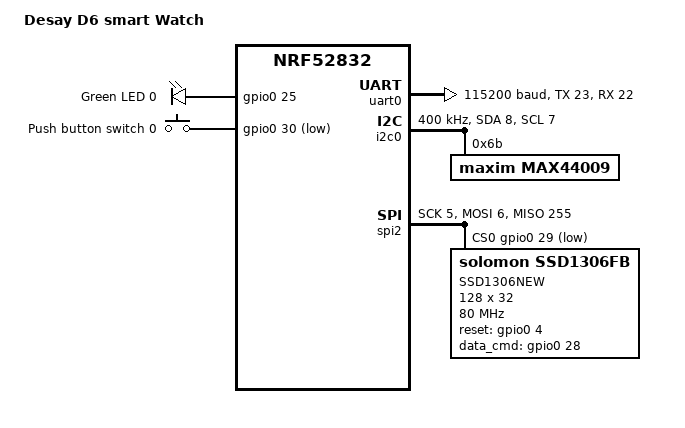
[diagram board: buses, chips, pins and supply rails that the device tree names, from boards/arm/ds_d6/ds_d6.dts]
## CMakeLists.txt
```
# SPDX-License-Identifier: Apache-2.0
#list(APPEND ZEPHYR_EXTRA_MODULES /root/zephyrproject/app/drivers/kscan2)
cmake_minimum_required(VERSION 3.13.1)
list(APPEND ZEPHYR_EXTRA_MODULES
  ${CMAKE_CURRENT_SOURCE_DIR}/drivers
  )


# Add the board
list(APPEND BOARD_ROOT ${CMAKE_CURRENT_LIST_DIR})
#list(APPEND DTS_ROOT ${CMAKE_CURRENT_LIST_DIR}/..)
#add_subdirectory(drivers/kscan2)
# Enable configurations through environment variables
#set(CONF_FILE ${CMAKE_CURRENT_LIST_DIR}/config/prj.conf ${CMAKE_CURRENT_LIST_DIR}/config/bootloader.conf)
#IF("$ENV{BOOTLOADER}" STREQUAL "off")
#  set(CONF_FILE ${CMAKE_CURRENT_LIST_DIR}/config/prj.conf)
#ENDIF()
#IF("$ENV{LOGGING}" STREQUAL "on")
#  set(CONF_FILE ${CONF_FILE} ${CMAKE_CURRENT_LIST_DIR}/config/logging_rtt.conf)
#ENDIF()

find_package(Zephyr REQUIRED HINTS $ENV{ZEPHYR_BASE})
include_directories(include)
project(oswatch)

FILE(GLOB app_sources src/*.c)
target_sources(app PRIVATE ${app_sources})

# Get current time
string(TIMESTAMP CURRENT_TIME %Y-%m-%dT%H:%M:%S)

# Get short commit hash
execute_process(
  COMMAND ${GIT_EXECUTABLE} describe --tags
  WORKING_DIRECTORY ${CMAKE_CURRENT_LIST_DIR}
  OUTPUT_VARIABLE FW_BUILD_GIT
  OUTPUT_STRIP_TRAILING_WHITESPACE
)
set(CMAKE_C_FLAGS "${CMAKE_C_FLAGS} -DCURRENT_TIME_OF_BUILD=\"${CURRENT_TIME}\" -DFW_BUILD=\"${FW_BUILD_GIT}\"")
set(ZEPHYR_BOARD_FLASH_RUNNER jlink)
```

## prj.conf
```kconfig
CONFIG_HEAP_MEM_POOL_SIZE=16384
CONFIG_MAIN_STACK_SIZE=2048

CONFIG_DISPLAY=y
CONFIG_DISPLAY_LOG_LEVEL_ERR=y
#CONFIG_KSCAN=y
CONFIG_LOG=y
CONFIG_LVGL=y
#CONFIG_LVGL_USE_LABEL=y
#CONFIG_LVGL_USE_CONT=y
#CONFIG_LVGL_USE_BTN=y
#CONFIG_LVGL_USE_SLIDER=y
#CONFIG_LVGL_USE_IMG=y
#CONFIG_LVGL_USE_THEME_MATERIAL=n
#CONFIG_ST7789V=y
#CONFIG_LVGL_TXT_ENC_UTF8=y
#CONFIG_LVGL_FONT_MONTSERRAT_14=y
#CONFIG_LVGL_FONT_UNSCII_8=n
#CONFIG_LVGL_VDB_SIZE=64 
#CONFIG_LVGL_VDB_SIZE=2 
#CONFIG_USE_SEGGER_RTT=y
#CONFIG_LVGL_USE_THEME_MONO=y
#CONFIG_LVGL_THEME_DEFAULT_COLOR_PRIMARY_WHITE=y
#CONFIG_LVGL_THEME_DEFAULT_COLOR_SECONDARY_BLACK=y
# Time functions
CONFIG_NEWLIB_LIBC=y
#CONFIG_LVGL_POINTER_KSCAN=y
```

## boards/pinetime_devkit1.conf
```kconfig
CONFIG_ST7789V=y
CONFIG_LVGL_FONT_MONTSERRAT_28=y
CONFIG_LVGL_FONT_MONTSERRAT_14=n
CONFIG_LVGL_DISPLAY_DEV_NAME="ST7789V"

CONFIG_LVGL_USE_LABEL=y
CONFIG_LVGL_USE_CONT=y
CONFIG_LVGL_USE_BTN=y
#CONFIG_LVGL_USE_SLIDER=y
#CONFIG_LVGL_USE_IMG=y
CONFIG_LVGL_USE_THEME_MATERIAL=n
#CONFIG_ST7789V=y
CONFIG_LVGL_TXT_ENC_UTF8=y
#CONFIG_LVGL_FONT_MONTSERRAT_14=y
CONFIG_LVGL_FONT_UNSCII_8=n
#CONFIG_LVGL_VDB_SIZE=64
CONFIG_LVGL_VDB_SIZE=6
CONFIG_USE_SEGGER_RTT=y
CONFIG_LVGL_USE_THEME_MONO=y
CONFIG_LVGL_THEME_DEFAULT_COLOR_PRIMARY_WHITE=y
CONFIG_LVGL_THEME_DEFAULT_COLOR_SECONDARY_BLACK=y
# Time functions
#CONFIG_NEWLIB_LIBC=y
#CONFIG_LVGL_POINTER_KSCAN=y
```

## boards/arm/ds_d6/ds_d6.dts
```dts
/*
* Copyright (c) 2019 Nordic Semiconductor ASA
*
* SPDX-License-Identifier: LicenseRef-BSD-5-Clause-Nordic
*/

/dts-v1/;
#include <nordic/nrf52832_qfaa.dtsi>

/ {
model = "Desay D6 smart Watch";
compatible = "ds-d6";

chosen {
	zephyr,console = &uart0;
	zephyr,shell-uart = &uart0;
	zephyr,uart-mcumgr = &uart0;
	zephyr,bt-mon-uart = &uart0;
	zephyr,bt-c2h-uart = &uart0;

	zephyr,sram = &sram0;
	zephyr,flash = &flash0;
	zephyr,code-partition = &slot0_partition;
};
leds    {
	compatible = "gpio-leds";
                led0_green: led_0 {
/*pin 25 is the motor*/
                       gpios = <&gpio0 25 GPIO_ACTIVE_HIGH>; //this is heart rate sensor led
                       label = "Green LED 0";
	//	       default-state = "on";
                };

        };


	buttons {
		compatible = "gpio-keys";
		button0: button_0 {
			gpios = <&gpio0 30 (GPIO_PULL_UP | GPIO_ACTIVE_LOW)>;
			label = "Push button switch 0";
		};
	};

       //heart rate sensor needs power, used this to pretend starting up a power rail 
/*        vdd_pwr: vdd-pwr-ctrl {
		compatible = "regulator-fixed";
                label = "vdd-pwr-ctrl";
                regulator-name = "vdd-pwr-ctrl";
                enable-gpios = <&gpio0 26 GPIO_ACTIVE_HIGH>;
                regulator-boot-on;
        };

*/
	aliases {
		sw0 = &button0;
		led0 = &led0_green;
/*		led2 = &led2_blue;
		led0-green = &led0_green;
		led1-red   = &led1_red;
		led2-blue  = &led2_blue;*/
	};

};

&gpiote {
	status = "okay";
};

&gpio0 {
	status = "okay";
};
&uart0 {
	status = "okay";
	compatible = "nordic,nrf-uart";
	current-speed = <115200>;
	tx-pin = <23>;
	rx-pin = <22>;
};

&i2c0 {
	compatible = "nordic,nrf-twi";
	status = "okay";
	sda-pin = <8>;
	scl-pin = <7>;
	clock-frequency = <I2C_BITRATE_FAST>;
//	clock-frequency = <400000>;
	max44009@6b {
		//power-gpios = <&gpio0 26 1>;
		compatible = "maxim,max44009";
		reg=<0x6b>;
		label="MAX44009";
        //        vin-supply = <&vdd_pwr>; //heart rate controller needs power first
	};
};

/*
&i2c1 {
	compatible = "nordic,nrf-twi";
	status = "okay";
	sda-pin = <14>;
	scl-pin = <13>;
	clock-frequency = <100000>;
	BME280@1f {
		compatible = "bosch,bme280";
		reg=<0x1f>;
		label="BME280";
	};
};


*/

&flash0 {
	/*
	 * For more information, see:
	 * http://docs.zephyrproject.org/latest/guides/dts/index.html#flash-partitions
	 */
	partitions {
		compatible = "fixed-partitions";
		#address-cells = <1>;
		#size-cells = <1>;

		boot_partition: partition@0 {
			label = "mcuboot";
			reg = <0x00000000 0x0000C000>;
		};
		slot0_partition: partition@c000 {
			label = "image-0";
			reg = <0x0000C000 0x00032000>;
		};
		slot1_partition: partition@3e000 {
			label = "image-1";
			reg = <0x0003e000 0x00032000>;
		};
		scratch_partition: partition@70000 {
			label = "image-scratch";
			reg = <0x00070000 0x0000a000>;
		};
		storage_partition: partition@7a000 {
			label = "storage";
			reg = <0x0007a000 0x00006000>;
		};
	};
};


&spi2 {
        compatible = "nordic,nrf-spi";
        status = "okay";
        sck-pin = <5>;
        mosi-pin = <6>;
        miso-pin = <0xFF>;
       // cs-gpios = <&gpio0 29 (GPIO_ACTIVE_LOW)>;
        cs-gpios = <&gpio0 29 (GPIO_ACTIVE_LOW)>;
        ssd1306new@0 {
                compatible = "solomon,ssd1306fb";
        	spi-max-frequency = <80000000>; 
                label = "SSD1306NEW";
                reg = <0>;
		segment-offset = <0>;
		page-offset = <0>;
		display-offset = <0>; 
		multiplex-ratio = <31>;
		height = <32>;
		width = <128>;
		segment-remap;
//		com-invdir;
//alternative 0x12		com-sequential;
		prechargep = <0xF1>;
		reset-gpios = <&gpio0 4 0>;
                data_cmd-gpios = <&gpio0 28 0>;
        };
};
```

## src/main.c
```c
/*
 * Copyright (c) 2021 Jan Jansen <najnesnaj@yahoo.com>
 *
 * SPDX-License-Identifier: Apache-2.0
 */

#include <device.h>
#include <drivers/display.h>
#include <drivers/gpio.h>
#include <lvgl.h>
#include <stdio.h>
#include <string.h>
#include <zephyr.h>
#include "clock.h"
#include "log.h"
#include "display.h"
#include "event_handler.h"


void main(void)
{
#if !(defined(CONFIG_BOARD_NATIVE_POSIX_64BIT)) //both the pinetime & ds_d6 have a real button 
	{
		init_button();
	}
#endif
	display_init();
	clock_init();
        clock_show_time();

	while (1) {
//		lv_task_handler();
		k_sleep(K_MSEC(100));
	}
}
```

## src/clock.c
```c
/*
 * Copyright (c) 2021 Jan Jansen (najnesnaj@yahoo.com)
 *
 * SPDX-License-Identifier: Apache-2.0
 */

#include <zephyr.h>
#include <time.h>
#include <stdio.h>
#include <stdlib.h>
#include <zephyr/types.h>
#include "battery.h"
#include "bt.h"
#include "version.h"
#include "cts_sync.h"
#include "log.h"
#include "event_handler.h"
//#include "gfx.h"
#include "display.h"

/* ********** ********** VARIABLES ********** ********** */
static char time_label_str[32];
static char date_label_str[32];
typedef unsigned long long  u64_t;

static u64_t uptime_ms;
static u64_t last_uptime_ms;
static u64_t elapsed_ms;

static struct tm ti = {
	.tm_sec = 0,
	.tm_min = 0,
	.tm_hour = 0,
	.tm_mday = 0,
	.tm_mon = 0,
	.tm_year = 0,
	.tm_wday = 0,
};

/* ********** ********** FUNCTIONS *********** ********** */
void clock_str_to_local_time(const char *str)
{
	if (sscanf(str, "%d-%d-%dT%d:%d:%d", &ti.tm_year, &ti.tm_mon,
		   &ti.tm_mday, &ti.tm_hour, &ti.tm_min, &ti.tm_sec) != 6) {
		LOG_ERR("Failed to parse time of build.");
	}
	ti.tm_year-=1900;
	ti.tm_mon-=1;
	mktime(&ti);
}

void clock_init()
{
	/* Set time to time of build */
	clock_str_to_local_time(TIME_OF_BUILD);
	LOG_DBG("Time set to time of build");
	LOG_DBG("Clock init: Done");
}

void clock_update_elapsed_ms()
{
	uptime_ms = k_uptime_get();
	elapsed_ms = uptime_ms - last_uptime_ms;
	last_uptime_ms = uptime_ms;
	LOG_INF("Clock updated: "); //jj
}

/* Called by cts sync */
void clock_sync_time(cts_datetime_t *cts)
{
	ti.tm_year = cts->year -1900;
	ti.tm_mon = cts->month -1;
	ti.tm_mday = cts->day;
	ti.tm_hour = cts->hours;
	ti.tm_min = cts->minutes;
	ti.tm_sec = cts->seconds;
	mktime(&ti);
	clock_update_elapsed_ms();
}

/* Called by event handler */
void clock_increment_local_time()
{
	clock_update_elapsed_ms();
	ti.tm_sec += elapsed_ms / 1000;
	mktime(&ti);
}

void clock_show_time()
{
	strftime(time_label_str, 32, "%H:%M", &ti);
	strftime(date_label_str, 32, "%a %d %b", &ti);
	//gfx_time_set_label(time_label_str); jj
	display_time_set_label(time_label_str);
	//gfx_date_set_label(date_label_str);
	display_date_set_label(date_label_str);
}
```

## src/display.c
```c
/*
 * Copyright (c) 2021 <najnesnaj@yahoo.com>
 *
 * SPDX-License-Identifier: Apache-2.0
 */

#include <device.h>
#include <drivers/display.h>
#include <drivers/gpio.h>
#include <lvgl.h>
#include <stdio.h>
#include <string.h>
#include <zephyr.h>

#include "display.h"
#include "buttons.h"
#include "clock.h"
#include "event_handler.h"
#include <logging/log.h>
LOG_MODULE_REGISTER(display, 3);

const static struct device * display_dev;

#define SCREEN_ID_0    0
#define SCREEN_ID_1    1
#define SCREEN_ID_2    2
#define SCREEN_ID_3    3
#define SCREEN_COUNT   4


#define PARAM_TOTAL 6 //total number of parameters


char * param_label[] = {
        "temp1",
        "timer1",
        "temp2",
        "timer2",
        "temp3",
        "timer3"
};

int param[6]={10,20,30,40,50,60};





enum battery_symbol {
        BAT_CHARGE,
        BAT_FULL,
        BAT_3,
        BAT_2,
        BAT_1,
        BAT_EMPTY
};

/*

void display_timer_handler(struct k_timer * timer);
void display_task_handler(struct k_work * work);

K_TIMER_DEFINE(display_timer, display_timer_handler, NULL);

K_WORK_DEFINE(display_work, display_task_handler);

#define TICK_PERIOD   (10)

void display_task_handler(struct k_work * work)
{
	lv_tick_inc(TICK_PERIOD);
	lv_task_handler();
}

void display_timer_handler(struct k_timer * timer)
{
	k_work_submit(&display_work);
}

*/

typedef struct {
	lv_obj_t * screen;
	int        count;
} screens_t;

/*---------------------------------------------------------------------------*/

static lv_obj_t   * button_obj;
static lv_obj_t   * screen0_label0_obj;
static lv_obj_t *time_label;
static lv_obj_t *date_label;
static lv_obj_t *title_label;
static lv_obj_t *battery_label;
static lv_obj_t *date_label;




static lv_obj_t   * screen1_label0_obj; 
static lv_obj_t   * screen1_label1_obj; 

//static lv_obj_t   * screen2_label0_obj; 
static lv_obj_t   * screen2_label1_obj; 
static lv_obj_t   * screen2_label2_obj; 

static screens_t screens [] = {
	{ .screen = NULL, .count = 1 },
	{ .screen = NULL, .count = 2 },
	{ .screen = NULL, .count = 3 },
	{ .screen = NULL, .count = 0 },
};
#define SCREENS_COUNT (sizeof(screens)/sizeof(screens[0]))

/*---------------------------------------------------------------------------*/
/*                                                                           */
/*---------------------------------------------------------------------------*/
void display_time_set_label(char *str)
{
	lv_label_set_text(time_label, str);
}
void display_date_set_label(char *str)
{
	lv_label_set_text(date_label, str);
}


//parameters are displayed on screen2
void display_label()
{
        screen2_label1_obj=lv_label_create(lv_scr_act(), NULL);
        lv_obj_align(screen2_label1_obj, lv_scr_act(), LV_ALIGN_IN_TOP_LEFT, 0, 0);
        screen2_label2_obj=lv_label_create(lv_scr_act(), NULL);
        lv_obj_align(screen2_label2_obj, lv_scr_act(), LV_ALIGN_IN_TOP_RIGHT, 0, 0);
}


void show_label(int parnr)
{
        char snum[5];
        sprintf(snum, "%d",param[parnr]);
        lv_label_set_text(screen2_label1_obj, param_label[parnr]);
        lv_label_set_text(screen2_label2_obj, snum);
}







void display_clock_update() // jj the clock apears in the first screen only 
{
             //                                   lv_scr_load(screens[0].screen);



}

/*---------------------------------------------------------------------------*/
/*        todo                                                               */
/*        kscan_touch works for pinetime                                     */
/*        have not found a way to do this out of tree                        */
/*        some minor modification of the focaltech driver is needed          */
/*---------------------------------------------------------------------------*/
/*
#if defined(CONFIG_LVGL_POINTER_KSCAN) 


static void button_event_cb(lv_obj_t * obj, lv_event_t event)
{
	static int screen_id = 0;  // init to first screen id
	static int param_id  = 0;  // init to first parameter index

	switch(event) {
		case LV_EVENT_PRESSED:
			break; 
		case LV_EVENT_SHORT_CLICKED:
			LOG_INF("Short clicked\n");
			break;

		case LV_EVENT_CLICKED:
			clock_increment_local_time();

			LOG_INF("Clicked\n");
			break;

		case LV_EVENT_LONG_PRESSED:
			clock_increment_local_time();
			clock_show_time();
			LOG_INF("Long press\n");
			break;

		case LV_EVENT_LONG_PRESSED_REPEAT:

			//this can be configured in menuconfig 
			//standard value < long_pressed
						screen_id++;
						if (screen_id >= SCREEN_COUNT)
						screen_id = 0;
						lv_scr_load(screens[screen_id].screen);
						param_id = 0;
						LOG_INF("BTN1: screen_id(%d)", screen_id);
			//   handle_button_event();



			LOG_INF("Long press repeat\n");
			break;

		case LV_EVENT_RELEASED:
			LOG_INF("Released\n");
			break;
	}

}
#endif
*/

/*---------------------------------------------------------------------------*/
/*                                                                           */
/*---------------------------------------------------------------------------*/
//todo if no touch screen define real button ds_d6




void display_battery(enum battery_symbol s)
{
        switch (s) {
                case BAT_CHARGE:
                        lv_label_set_text(battery_label, LV_SYMBOL_CHARGE);
                        break;
                case BAT_FULL:
                        lv_label_set_text(battery_label, LV_SYMBOL_BATTERY_FULL);
                        break;
                case BAT_3:
                        lv_label_set_text(battery_label, LV_SYMBOL_BATTERY_3);
                        break;
                case BAT_2:
                        lv_label_set_text(battery_label, LV_SYMBOL_BATTERY_2);
                        break;
                case BAT_1:
                        lv_label_set_text(battery_label, LV_SYMBOL_BATTERY_1);
                        break;
                default:
                        lv_label_set_text(battery_label, LV_SYMBOL_BATTERY_EMPTY);
        }
}






void display_button()
{
	/* the ds_d6 has a real button and no touchscreen, so no need for lvgl-button */
#if defined(CONFIG_LVGL_POINTER_KSCAN)
//#if defined(CONFIG_BOARD_NATIVE_POSIX_64BIT)
	button_obj = lv_btn_create(lv_scr_act(), NULL);
	lv_obj_set_width(button_obj, 5);
	lv_obj_set_height(button_obj, 5);
	//lv_obj_align(button_obj, NULL, LV_ALIGN_CENTER, 128, 0);
	lv_obj_align(button_obj, NULL, LV_ALIGN_IN_RIGHT_MID, 0, 0);
	lv_btn_set_fit(button_obj, LV_FIT_TIGHT);
	screen0_label0_obj = lv_label_create(button_obj, NULL);
	lv_label_set_text(screen0_label0_obj, "O"); //substitute for real switch on physical watch
	lv_obj_set_event_cb(button_obj, button_event_cb);
#endif

}


void display_btn_event(buttons_id_t btn_id)
{
	static int screen_id = 0;  // init to first screen id
	static int param_id  = 0;  // init to first parameter index

	//LOG_INF("%s: BTN%d", __func__, btn_id);

	switch (btn_id) {

		case BTN1_LONG:
			screen_id++;
			if (screen_id >= SCREEN_COUNT)
				screen_id = 0;
			lv_scr_load(screens[screen_id].screen);
			param_id = 0;
			LOG_INF("BTN1: screen_id(%d)", screen_id);
			break;

		case BTN1_SHORT:
			param_id++;
			if (param_id >= PARAM_TOTAL)  param_id = 0;
			show_label(param_id);
	//		if (param_id < 0)                          param_id = 0;
			LOG_INF("BTN2: screen_id(%d) param_id(%d)", screen_id, param_id);
			break;


		default:
			break;
	}
}

/*---------------------------------------------------------------------------*/
/*                                                                           */
/*---------------------------------------------------------------------------*/
void display_screens_init(void)
{
	screens[0].screen = lv_obj_create(NULL, NULL);
	screens[1].screen = lv_obj_create(NULL, NULL);
	screens[2].screen = lv_obj_create(NULL, NULL);
	screens[3].screen = lv_obj_create(NULL, NULL);

	// lv_theme_t * mono = lv_theme_mono_init(0, NULL);
	// lv_theme_set_current(mono);

	/*
	 *  build basic screen0
	 */
	lv_scr_load(screens[0].screen);
	lv_obj_t * screen0_label = lv_label_create(lv_scr_act(), NULL);
	lv_label_set_text(screen0_label, "Pg1");
	lv_obj_align(screen0_label, screens[0].screen, LV_ALIGN_IN_TOP_RIGHT, 0, 0);
	/* the ds_d6 has a real button and no touchscreen, so no need for lvgl-button */
	display_button();

	/* Time label */
	time_label = lv_label_create(lv_scr_act(), NULL);
	lv_obj_align(time_label, NULL, LV_ALIGN_IN_TOP_MID, 0, 0); //jj
	lv_label_set_text(time_label, "00:00");
	/* Date label */
	date_label = lv_label_create(lv_scr_act(), NULL);
	lv_obj_align(date_label, NULL, LV_ALIGN_IN_BOTTOM_MID, 0, 0);
	lv_label_set_text(date_label, "Mon 10 Jan");

	/* title label */
	title_label = lv_label_create(lv_scr_act(), NULL);
	lv_obj_align(title_label, NULL, LV_ALIGN_IN_TOP_LEFT, 0, 0);
	//lv_label_set_text(title_label, LV_SYMBOL_BLUETOOTH"symb");
	//lv_label_set_text(title_label, LV_SYMBOL_BLUETOOTH);
	lv_label_set_text(title_label, LV_SYMBOL_WIFI);

	/* Battery label */
	//display_battery(3);
	battery_label = lv_label_create(lv_scr_act(), NULL);
	display_battery(BAT_3); //todo just demo value -- need real level
	//lv_label_set_text(battery_label, LV_SYMBOL_BATTERY_2);
        lv_obj_align(battery_label, NULL, LV_ALIGN_IN_BOTTOM_LEFT, 0, 0);

	//battery_label = lv_label_create(lv_scr_act(), NULL);
	//lv_obj_align(battery_label, NULL, LV_ALIGN_IN_TOP_MID, 0, 0);
	//lv_label_set_text(battery_label, LV_SYMBOL_BATTERY_EMPTY);


	//	lv_obj_t * mask = lv_img_create(lv_scr_act(), NULL);
	//	lv_img_set_src(mask, &mask);
	//	lv_obj_align(mask, NULL, LV_ALIGN_CENTER, 0, 0);


	//  hello_world_label = lv_label_create(hello_world_button, NULL);
	// printf("pointer enabled\n");
	// lv_label_set_text(hello_world_label, "O"); //substitute for real switch on physical watch
	//screen0_slider_obj = lv_slider_create(lv_scr_act(), NULL);
	//lv_obj_set_height(screen0_slider_obj, 10);
	//lv_obj_set_width(screen0_slider_obj, 110);
	//lv_obj_align(screen0_slider_obj, NULL, LV_ALIGN_CENTER, 0, 0);
	//lv_slider_set_value(screen0_slider_obj, 15, LV_ANIM_ON);
	//screen0_slider_value = 15;

	/*
	 *  build basic screen1
	 */
	lv_scr_load(screens[1].screen);
	lv_obj_t * screen1_page = lv_label_create(lv_scr_act(), NULL);
	lv_label_set_text(screen1_page, "Pg2");
	lv_obj_align(screen1_page, screens[1].screen, LV_ALIGN_IN_TOP_RIGHT, 0, 0);

	// to avoid creating the same button all over again jj
	display_button();

	screen1_label0_obj = lv_label_create(lv_scr_act(), NULL);
	lv_label_set_text(screen1_label0_obj, "0");
	lv_obj_align(screen1_label0_obj, screens[1].screen, LV_ALIGN_IN_BOTTOM_LEFT, 5, -5);

	screen1_label1_obj = lv_label_create(lv_scr_act(), NULL);
	lv_label_set_text(screen1_label1_obj, "0");
	lv_obj_align(screen1_label1_obj, screens[1].screen, LV_ALIGN_IN_BOTTOM_RIGHT, -15, -5);

	//	lv_obj_t * icon_1 = lv_img_create(lv_scr_act(), NULL);
	//	lv_img_set_src(icon_1, &icon1);
	//	lv_obj_align(icon_1, NULL, LV_ALIGN_CENTER, 0, 0);

	/*
	 *  build basic screen2
	 */
	lv_scr_load(screens[2].screen);
	lv_obj_t * screen2_page = lv_label_create(lv_scr_act(), NULL);
	lv_label_set_text(screen2_page, "Pg3");
	lv_obj_align(screen2_page, screens[2].screen, LV_ALIGN_IN_BOTTOM_LEFT, 0, 0);
	// why define the same button all over again? jj
	display_button();
        display_label(); //parameters on screen 2
	show_label(1); //show first parameters on list --short click to scroll
	//
//	lv_obj_t * screen2_label0_tag = lv_label_create(lv_scr_act(), NULL);
//	lv_label_set_text(screen2_label0_tag, "value-0");
//	lv_obj_align(screen2_label0_tag, screens[2].screen, LV_ALIGN_IN_TOP_RIGHT, -70, 2);

//	screen2_label0_obj = lv_label_create(lv_scr_act(), NULL);
//	lv_label_set_text(screen2_label0_obj, "0");
//	lv_obj_align(screen2_label0_obj, screens[2].screen, LV_ALIGN_IN_TOP_RIGHT, -45, 2);

	//
//	lv_obj_t * screen2_label1_tag = lv_label_create(lv_scr_act(), NULL);
//	lv_label_set_text(screen2_label1_tag, "value-1");
//	lv_obj_align(screen2_label1_tag, screens[2].screen, LV_ALIGN_IN_RIGHT_MID, -70, 0);

//	screen2_label1_obj = lv_label_create(lv_scr_act(), NULL);
//	lv_label_set_text(screen2_label1_obj, "0");
//	lv_obj_align(screen2_label1_obj, screens[2].screen, LV_ALIGN_IN_RIGHT_MID, -45, 0);

	//
//	lv_obj_t * screen2_value2_tag = lv_label_create(lv_scr_act(), NULL);
//	lv_label_set_text(screen2_value2_tag, "value-2");
//	lv_obj_align(screen2_value2_tag, screens[2].screen, LV_ALIGN_IN_BOTTOM_RIGHT, -70, -2);

//	screen2_label2_obj = lv_label_create(lv_scr_act(), NULL);
//	lv_label_set_text(screen2_label2_obj, "0");
//	lv_obj_align(screen2_label2_obj, screens[2].screen, LV_ALIGN_IN_BOTTOM_RIGHT, -45, -2);

	//#if 0
	//	lv_obj_t * icon_2 = lv_img_create(lv_scr_act(), NULL);
	//	lv_img_set_src(icon_2, &icon2);
	//#endif

	/*
	 *  build basic screen3
	 */
	lv_scr_load(screens[3].screen);
	lv_obj_t * screen3_page = lv_label_create(lv_scr_act(), NULL);
	lv_label_set_text(screen3_page, "Sc4");
	lv_obj_align(screen3_page, screens[3].screen, LV_ALIGN_IN_TOP_RIGHT, 0, 0);

	// why define the same button all over again? jj
	display_button();

	//	lv_obj_t * icon_3 = lv_img_create(lv_scr_act(), NULL);
	//	lv_img_set_src(icon_3, &icon3);
	//	lv_obj_align(icon_3, NULL, LV_ALIGN_CENTER, 0, 0);
}

/*---------------------------------------------------------------------------*/
/*                                                                           */
/*---------------------------------------------------------------------------*/
#if defined(CONFIG_BOARD_PINETIME_DEVKIT1)


#define LED0_NODE DT_ALIAS(led1)

#if DT_NODE_HAS_STATUS(LED0_NODE, okay)
#define LED0    DT_GPIO_LABEL(LED0_NODE, gpios)
#define PIN     DT_GPIO_PIN(LED0_NODE, gpios)
#define FLAGS   DT_GPIO_FLAGS(LED0_NODE, gpios)
#endif
#endif

static void backlight_switch(bool enable)
{
#if defined(CONFIG_BOARD_PINETIME_DEVKIT1)

	const struct device *dev;

	dev = device_get_binding(LED0);
	/* If you have a backlight, set it up and turn it on here */
	gpio_pin_configure(dev, PIN, GPIO_OUTPUT_ACTIVE | FLAGS);
	//   gpio_pin_configure(dev, LED, GPIO_DIR_OUT);
	if (enable==true) 
	gpio_pin_set(dev, PIN, 1);
	else
	gpio_pin_set(dev, PIN, 0);
	//gpio_pin_write(dev, LED, 0);
#endif
}




int display_init(void)
{
//#if defined(CONFIG_BOARD_PINETIME_DEVKIT1)
	backlight_switch(true); //jj check which board has backlight is done in procedure
//#endif
	display_dev = device_get_binding(CONFIG_LVGL_DISPLAY_DEV_NAME);

	if (display_dev == NULL) {
		LOG_ERR("device not found. %s", CONFIG_LVGL_DISPLAY_DEV_NAME);
		return -1;
	}

	//lv_init();

	display_screens_init();

	/*
	 *  First screen will be screen1
	 */
	lv_scr_load(screens[0].screen);

	/*
	 *  Turn on display
	 */
	lv_task_handler();//jj
	display_blanking_off(display_dev);

	/* 
	 * Register for button press notifications.
	 */
	//buttons_register_notify_handler(display_btn_event);

	/*
	 *  Start task handler timer loop
	 */
//	k_timer_start(&display_timer, K_MSEC(TICK_PERIOD), K_MSEC(TICK_PERIOD));

	return 0;
};
```

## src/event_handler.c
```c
/*
 * Copyright (c) 2021 najnesnaj@yahoo.com
 *
 * SPDX-License-Identifier: Apache-2.0
 */

#include <zephyr.h>
#include <drivers/gpio.h>
#include <drivers/sensor.h>
#include <stdbool.h>
#include "battery.h"
#include "bt.h"
#include "clock.h"
#include "display.h"
#include "event_handler.h"
#include "log.h"
#include "buttons.h"

/* ********** defines ********** */
#define BAT_CHA 2 //jj
#define BTN_PORT DT_GPIO_LABEL(DT_ALIAS(sw0), gpios)
#define BTN_IN  DT_GPIO_PIN(DT_ALIAS(sw0), gpios)
#define BTN_OUT 3 //jj 
#define EDGE    (GPIO_INT_EDGE | GPIO_INT_DOUBLE_EDGE)
#define PULL_UP DT_GPIO_FLAGS(DT_ALIAS(sw0), gpios)
#define DISPLAY_TIMEOUT K_SECONDS(500) //jj suppose you leave display on -- time should be updated
#define CLOCK_UPDATE K_SECONDS(20) //jj every minute clock should get update 
/* ********** ******* ********** */

/* ********** variables ********** */
static struct k_timer clock_update_timer; //jj

/* ********** ******* ********** */
/* setup buttons **** ********** */
/* ********** ******* ********** */

//when used with the native_posix_64 virtual device there are no buttons ...
//#if !(defined(CONFIG_BOARD_NATIVE_POSIX_64BIT))

#define SW0_NODE        DT_ALIAS(sw0)

#if DT_NODE_HAS_STATUS(SW0_NODE, okay)
#define SW0_GPIO_LABEL  DT_GPIO_LABEL(SW0_NODE, gpios)
#define SW0_GPIO_PIN    DT_GPIO_PIN(SW0_NODE, gpios)
#define SW0_GPIO_FLAGS  (GPIO_INPUT | DT_GPIO_FLAGS(SW0_NODE, gpios))
#else
//#error "Unsupported board: sw0 devicetree alias is not defined"
#define SW0_GPIO_LABEL  ""
#define SW0_GPIO_PIN    0
#define SW0_GPIO_FLAGS  0
#endif

#if defined(CONFIG_BOARD_PINETIME_DEVKIT1) //pinetime needs port 15 high for switch to work
#define SW1_NODE        DT_ALIAS(sw1)
#define SW1_GPIO_PIN    DT_GPIO_PIN(SW1_NODE, gpios)
#define SW1_GPIO_FLAGS  (GPIO_OUTPUT | DT_GPIO_FLAGS(SW1_NODE, gpios))
#define BUTTON_THRESH 4 //threshold to distinguish between short and long press
#define BUTTON_DOUBLE_THRESH 2 //double click
#endif

#if defined(CONFIG_BOARD_NATIVE_POSIX_64BIT)
#define BUTTON_THRESH 6 //threshold to distinguish between short and long press
//when used in a real watch it will probable have to be less
#define BUTTON_DOUBLE_THRESH 12 //double click
#endif

#if defined(CONFIG_BOARD_DS_D6)
#define BUTTON_THRESH 3 //threshold to distinguish between short and long press
#define BUTTON_DOUBLE_THRESH 2 //double click
#endif



static uint8_t button_press_cnt;
//struct k_timer button_timer;




//when the timer expires the number of presses is analysed
void button_timer_handler(struct k_timer *dummy)
{
	LOG_INF("timer expired\n");
	LOG_INF("press count %d\n", button_press_cnt);
	if (button_press_cnt >= BUTTON_DOUBLE_THRESH){
		LOG_INF("long press\n");
		display_btn_event(BTN1_LONG);
	}
	if (button_press_cnt <= BUTTON_THRESH){ //short press is used to scroll trough the labels with their value
		LOG_INF("short press\n");
		display_btn_event(BTN1_SHORT);
		//  show_label(label_select_cnt);
		//  label_select_cnt++;
		// if (label_select_cnt ==  PARAM_TOTAL) label_select_cnt=0;
	}
	if ((button_press_cnt > BUTTON_THRESH) && (button_press_cnt < BUTTON_DOUBLE_THRESH)){
		LOG_INF("double click\n");
	}
	button_press_cnt=0;


}

/*timer used to detect lenght of pushing*/
struct k_timer button_timer;
K_TIMER_DEFINE(button_timer, button_timer_handler,NULL);





void button_pressed(const struct device *dev, struct gpio_callback *cb,
		uint32_t pins)
{
	buttons_id_t btn_id;

	LOG_INF("Button pressed at %" PRIu32 "\n", k_cycle_get_32());

	if (button_press_cnt == 0U) {
		k_timer_start(&button_timer, K_SECONDS(1), K_NO_WAIT);
		btn_id=BTN1_SHORT;
	}

	if (k_timer_status_get(&button_timer) > 0) {
		/* timer has expired */
		//display_btn_event(BTN1_SHORT);
		button_press_cnt=0;
	} else  {
		/* timer still running */
		button_press_cnt++;
	}



}

//this is used in case of native_posix -- virtual button
//static void button_event_cb(lv_obj_t * obj, lv_event_t event)
void button_event_cb(lv_obj_t * obj, lv_event_t event)
//static void button_event_cb(void)
{

        LOG_INF("Button pressed at %" PRIu32 "\n", k_cycle_get_32());
        if (button_press_cnt == 0U) {
                k_timer_start(&button_timer, K_SECONDS(1), K_NO_WAIT);
                printf("Buttontime started" );
        }

        if (k_timer_status_get(&button_timer) > 0) {
                button_press_cnt=0;
        } else  {
                /* timer still running */
                button_press_cnt++;
        }

}


static struct gpio_callback button_cb_data;

void init_button(void)
{
	const struct device *button;
	int ret;
	button = device_get_binding(SW0_GPIO_LABEL);
	if (button == NULL) {
		printk("Error: didn't find %s device\n", SW0_GPIO_LABEL);
		return;
	}

	ret = gpio_pin_configure(button, SW0_GPIO_PIN, SW0_GPIO_FLAGS);
	if (ret != 0) {
		printk("Error %d: failed to configure %s pin %d\n",
				ret, SW0_GPIO_LABEL, SW0_GPIO_PIN);
		return;
	}

	ret = gpio_pin_interrupt_configure(button,
			SW0_GPIO_PIN,
			GPIO_INT_EDGE_TO_ACTIVE);
	if (ret != 0) {
		printk("Error %d: failed to configure interrupt on %s pin %d\n",
				ret, SW0_GPIO_LABEL, SW0_GPIO_PIN);
		return;
	}
#if defined(CONFIG_BOARD_PINETIME_DEVKIT1)
	//port 15 has to be high in order for the button to work


	gpio_pin_configure(button, SW1_GPIO_PIN,SW1_GPIO_FLAGS); //push button out
	gpio_pin_set(button, SW1_GPIO_PIN, 1); //set port high



#endif



	gpio_init_callback(&button_cb_data, button_pressed, BIT(SW0_GPIO_PIN));
	gpio_add_callback(button, &button_cb_data);
	printk("Set up button at %s pin %d\n", SW0_GPIO_LABEL, SW0_GPIO_PIN);



}
//#endif

//static struct gpio_callback button_cb;

/* ********** ********* ********** */


/* ********** init function ********** */
void event_handler_init()
{

	/* Start timers */
	k_timer_init(&clock_update_timer, handle_clock_update, NULL); //jj
	k_timer_start(&clock_update_timer,CLOCK_UPDATE, K_NO_WAIT); //jj

	clock_show_time();

	LOG_DBG("Event handler init: Done");
}
/* ********** ************ ********** */

/* ********** interrupt handlers ********** */


void button_pressed_isr(const struct device *gpiobtn, struct gpio_callback *cb, uint32_t pins)
{
	//backlight_switch(true);

	handle_button_event();
}

void handle_clock_update(struct k_timer *clock_update) //jj if clock displayed, it should get the updated time
{
	printk("handle_clock_update\n");
	clock_increment_local_time();
	clock_show_time();
	display_clock_update(); //multiple screens but clock only appears in 1st
	k_timer_start(clock_update,CLOCK_UPDATE, K_NO_WAIT); //timer gets started again -- perpetuum mobile
}


/* ********** ************** ********** */
int handle_button_event(void)
{
	clock_increment_local_time();
	clock_show_time();
	return 1;
}
```
